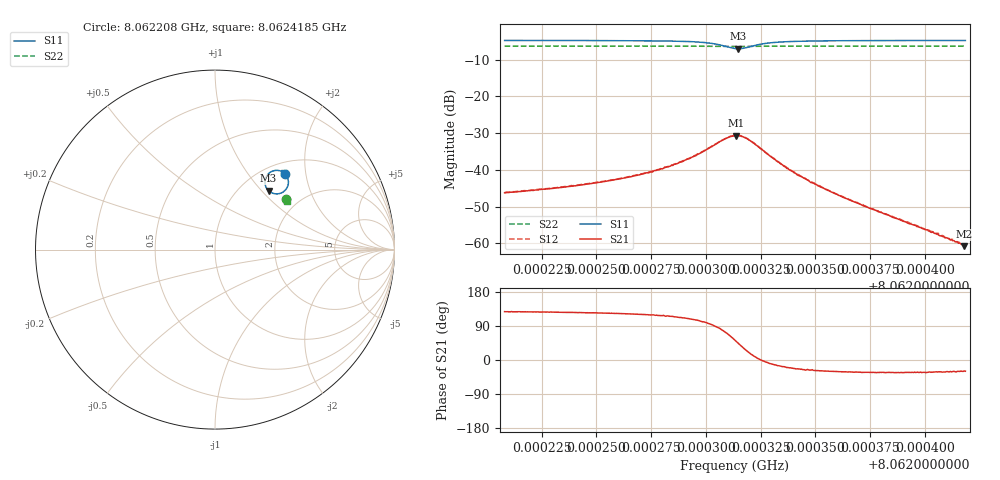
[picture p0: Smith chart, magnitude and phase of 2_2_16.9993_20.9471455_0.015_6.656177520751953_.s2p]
#  HZ  S  RI  R  50.00
! Rohde & Schwarz Vector Network Analyzer
! Rohde-Schwarz,ZNB20-2Port,1311601062101988,3.16
! Created: UTC 3/20/2024, 10:52:06 PM
! freq[Hz]  re:S11  im:S11  re:S21  im:S21  re:S12  im:S12  re:S22  im:S22
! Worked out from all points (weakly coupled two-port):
!   401 points, 8.062208 GHz to 8.0624185 GHz, reference 50 ohm
!   highest |S21| = -30.67 dB at 8.0623138 GHz (marker M1); lowest = -60.8 dB at 8.062418 GHz (marker M2)
!   lowest |S11| = -7.1 dB at 8.0623148 GHz (marker M3), VSWR 2.59, Z = 67 + j54.7 ohm
!   |S11| at or under -10 dB: nowhere
!   |S22| runs from -6.4 to -6.3 dB; largest |S21 - S12| = 0.0019
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8.06220804e9  0.3907 0.4221  -0.00297 0.00386  -0.00277 0.00407  0.3933 0.2792
8.06224329e9  0.3965 0.4151  -0.00358 0.00512  -0.00331 0.00538  0.3944 0.2772
8.06226381e9  0.4012 0.4074  -0.00416 0.00668  -0.0038 0.00702  0.3952 0.2759
8.06227486e9  0.4045 0.4002  -0.00453 0.00828  -0.00412 0.0086  0.3955 0.2751
8.06227854e9  0.4059 0.3969  -0.00458 0.00885  -0.00415 0.00934  0.3957 0.2747
8.06228381e9  0.4075 0.3908  -0.00482 0.0102  -0.00424 0.0107  0.3957 0.2742
8.0622917e9  0.4091 0.3771  -0.00466 0.0133  -0.00403 0.0135  0.3958 0.2732
8.0623017e9  0.4013 0.3449  -0.00185 0.0199  -0.000614 0.0201  0.3954 0.2715
8.06230906e9  0.3609 0.3127  0.00796 0.0254  0.00958 0.025  0.3934 0.2704
8.06231327e9  0.315 0.3169  0.0178 0.023  0.0194 0.0222  0.3916 0.2709
8.0623138e9  0.3095 0.3199  0.019 0.0223  0.0205 0.0213  0.3913 0.2713
8.06231485e9  0.2988 0.3278  0.0212 0.0202  0.0225 0.0191  0.3911 0.2716
8.06231695e9  0.2838 0.3488  0.0237 0.0151  0.0248 0.0138  0.3908 0.2727
8.06231906e9  0.2781 0.3722  0.0244 0.00997  0.025 0.00847  0.391 0.2738
8.06232695e9  0.3021 0.4268  0.0173 -0.00133  0.0174 -0.00243  0.3932 0.2754
8.06233748e9  0.3358 0.4411  0.00981 -0.00354  0.00962 -0.00413  0.3951 0.275
8.06234852e9  0.3538 0.4407  0.00605 -0.00288  0.00585 -0.00341  0.3963 0.2743
8.06236326e9  0.366 0.4376  0.00356 -0.00217  0.00348 -0.00237  0.3972 0.2732
8.06238378e9  0.3747 0.4338  0.00201 -0.00129  0.0019 -0.00145  0.398 0.272
8.06240693e9  0.3804 0.4305  0.00108 -0.000652  0.00107 -0.000769  0.3991 0.2706
8.06241798e9  0.3824 0.4292  0.000802 -0.000443  0.000778 -0.000503  0.3994 0.2699
8.06241851e9  0.3824 0.4292  0.0008 -0.000454  0.000785 -0.000497  0.3994 0.2699
